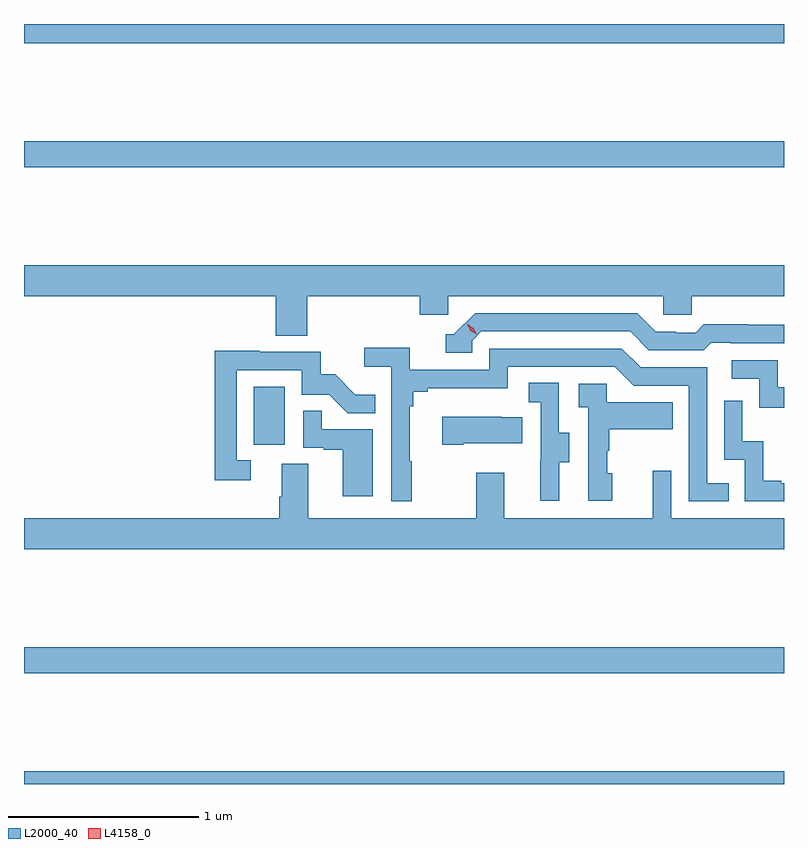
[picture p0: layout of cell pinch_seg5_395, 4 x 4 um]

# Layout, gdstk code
import gdstk
lib = gdstk.Library(unit=1e-6, precision=1e-09)
def R(c, l, rs):  # rectangles x0, y0, x1, y1
    for r in rs: c.add(gdstk.rectangle(r[:2], r[2:], *l))
def P(c, l, *ps):  # polygons
    for p in ps: c.add(gdstk.Polygon(p, *l))
L2000_40 = (2000, 40)
L4158_0 = (4158, 0)

pinch_seg5_395 = lib.new_cell('pinch_seg5_395')
R(pinch_seg5_395, L2000_40, [(1007.489,868.845,1011.489,868.912), (1007.489,869.428,1011.489,869.564), (1008.698,870.63,1008.862,870.937), (1007.489,872.092,1011.489,872.228), (1007.489,872.744,1011.489,872.845)])
P(pinch_seg5_395, L2000_40, [(1008.98,871.412),(1009.571,871.412),(1009.571,871.314),(1009.722,871.314),(1009.722,871.412),(1010.853,871.412),(1010.853,871.314),(1011.003,871.314),(1011.003,871.412),(1011.489,871.412),(1011.489,871.576),(1007.489,871.576),(1007.489,871.412),(1008.815,871.412),(1008.815,871.204),(1008.98,871.204)],
  [(1009.848,871.179),(1009.896,871.227),(1010.679,871.227),(1010.778,871.128),(1011.067,871.128),(1011.106,871.167),(1011.205,871.167),(1011.205,871.164),(1011.489,871.164),(1011.489,871.261),(1011.3,871.261),(1011.3,871.264),(1011.067,871.264),(1011.025,871.221),(1010.922,871.221),(1010.922,871.224),(1010.815,871.224),(1010.716,871.323),(1009.863,871.323),(1009.752,871.212),(1009.709,871.212),(1009.709,871.116),(1009.848,871.116)],
  [(1009.531,870.545),(1009.519,870.545),(1009.519,870.833),(1009.538,870.833),(1009.538,870.91),(1009.615,870.91),(1009.615,870.929),(1010.034,870.929),(1010.034,871.041),(1010.598,871.041),(1010.697,870.942),(1010.988,870.942),(1010.988,870.333),(1011.197,870.333),(1011.197,870.429),(1011.084,870.429),(1011.084,871.038),(1010.734,871.038),(1010.635,871.137),(1009.938,871.137),(1009.938,871.026),(1009.52,871.026),(1009.52,871.142),(1009.281,871.142),(1009.281,871.04),(1009.422,871.04),(1009.422,870.333),(1009.531,870.333)],
  [(1008.682,870.549),(1008.609,870.549),(1008.609,871.023),(1008.951,871.023),(1008.951,870.894),(1009.095,870.894),(1009.193,870.796),(1009.337,870.796),(1009.337,870.895),(1009.233,870.895),(1009.126,871.002),(1009.05,871.002),(1009.05,871.119),(1008.731,871.119),(1008.731,871.124),(1008.493,871.124),(1008.493,870.444),(1008.682,870.444)],
  [(1011.489,870.933),(1011.456,870.933),(1011.456,871.074),(1011.213,871.074),(1011.213,870.978),(1011.36,870.978),(1011.36,870.825),(1011.489,870.825)],
  [(1010.305,870.538),(1010.359,870.538),(1010.359,870.693),(1010.304,870.693),(1010.304,870.956),(1010.145,870.956),(1010.145,870.853),(1010.208,870.853),(1010.208,870.549),(1010.207,870.549),(1010.207,870.336),(1010.305,870.336)],
  [(1010.584,870.48),(1010.559,870.48),(1010.559,870.599),(1010.569,870.599),(1010.569,870.713),(1010.903,870.713),(1010.903,870.853),(1010.556,870.853),(1010.556,870.951),(1010.409,870.951),(1010.409,870.827),(1010.46,870.827),(1010.46,870.336),(1010.584,870.336)],
  [(1011.489,870.429),(1011.475,870.429),(1011.475,870.442),(1011.38,870.442),(1011.38,870.65),(1011.27,870.65),(1011.27,870.862),(1011.174,870.862),(1011.174,870.552),(1011.282,870.552),(1011.282,870.333),(1011.489,870.333)],
  [(1009.324,870.711),(1009.055,870.711),(1009.055,870.809),(1008.96,870.809),(1008.96,870.615),(1009.067,870.615),(1009.067,870.603),(1009.166,870.603),(1009.166,870.36),(1009.324,870.36)],
  [(1009.801,870.638),(1010.111,870.638),(1010.111,870.775),(1010.003,870.775),(1010.003,870.778),(1009.689,870.778),(1009.689,870.631),(1009.801,870.631)],
  [(1011.489,870.244),(1010.895,870.244),(1010.895,870.493),(1010.798,870.493),(1010.798,870.244),(1010.017,870.244),(1010.017,870.484),(1009.87,870.484),(1009.87,870.244),(1008.985,870.244),(1008.985,870.53),(1008.845,870.53),(1008.845,870.356),(1008.833,870.356),(1008.833,870.244),(1007.489,870.244),(1007.489,870.08),(1011.489,870.08)])
P(pinch_seg5_395, L4158_0, [(1009.871,871.212),(1009.84,871.231),(1009.823,871.264),(1009.823,871.264),(1009.824,871.264),(1009.854,871.245),(1009.871,871.212),(1009.871,871.212)])

lib.write_gds('pinch_seg5_395.gds')
